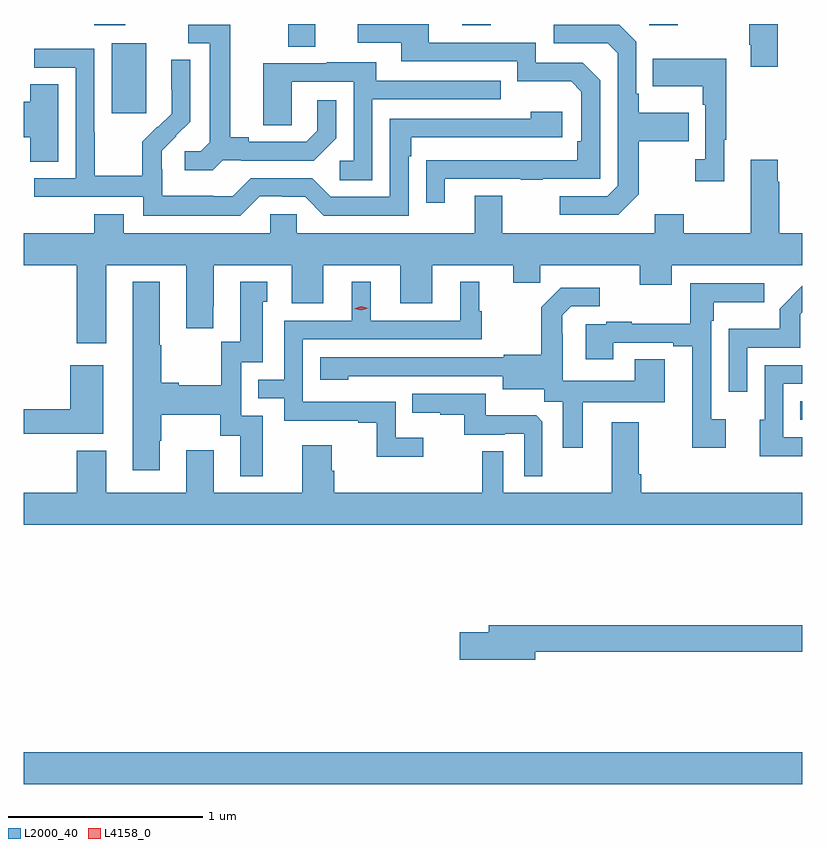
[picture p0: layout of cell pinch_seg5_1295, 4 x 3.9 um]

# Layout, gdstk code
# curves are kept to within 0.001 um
import gdstk
lib = gdstk.Library(unit=1e-6, precision=1e-09)
def R(c, l, rs):  # rectangles x0, y0, x1, y1
    for r in rs: c.add(gdstk.rectangle(r[:2], r[2:], *l))
def P(c, l, *ps):  # polygons
    for p in ps: c.add(gdstk.Polygon(p, *l))
L2000_40 = (2000, 40)
L4158_0 = (4158, 0)

pinch_seg5_1295 = lib.new_cell('pinch_seg5_1295')
R(pinch_seg5_1295, L2000_40, [(352.461,911.372,356.461,911.536), (356.449,913.242,356.461,913.338), (352.913,914.817,353.092,915.178), (353.819,915.16,353.959,915.276), (352.823,915.269,352.983,915.276), (354.713,915.269,354.861,915.276), (355.674,915.269,355.821,915.276)])
P(pinch_seg5_1295, L2000_40, [(356.335,915.276),(356.188,915.276),(356.188,915.169),(356.195,915.169),(356.195,915.057),(356.335,915.057)],
  [(354.625,914.481),(355.015,914.481),(355.015,914.476),(355.127,914.476),(355.127,914.481),(355.422,914.481),(355.422,914.988),(355.332,915.078),(355.092,915.078),(355.092,915.18),(354.541,915.18),(354.541,915.276),(354.177,915.276),(354.177,915.18),(354.401,915.18),(354.401,915.084),(354.996,915.084),(354.996,914.981),(355.273,914.981),(355.326,914.928),(355.326,914.674),(355.306,914.674),(355.306,914.577),(354.529,914.576),(354.529,914.358),(354.625,914.358)],
  [(353.484,914.577),(353.578,914.577),(353.578,914.574),(353.95,914.574),(354.066,914.69),(354.066,914.884),(353.969,914.884),(353.969,914.727),(353.912,914.67),(353.617,914.67),(353.617,914.693),(353.521,914.693),(353.521,915.273),(353.307,915.273),(353.307,915.177),(353.417,915.177),(353.417,914.669),(353.37,914.622),(353.289,914.622),(353.289,914.525),(353.432,914.525)],
  [(355.621,914.401),(355.621,914.674),(355.877,914.674),(355.877,914.821),(355.621,914.821),(355.621,914.917),(355.608,914.917),(355.608,915.186),(355.521,915.273),(355.185,915.273),(355.185,915.177),(355.461,915.177),(355.512,915.126),(355.512,914.445),(355.458,914.391),(355.215,914.391),(355.215,914.295),(355.515,914.295)],
  [(353.673,914.391),(353.789,914.391),(353.789,914.388),(353.907,914.388),(354.003,914.292),(354.438,914.292),(354.438,914.597),(354.451,914.597),(354.451,914.694),(355.228,914.694),(355.228,914.824),(355.067,914.824),(355.067,914.79),(354.342,914.79),(354.342,914.388),(354.039,914.388),(353.943,914.484),(353.628,914.484),(353.535,914.391),(353.435,914.391),(353.435,914.395),(353.172,914.395),(353.172,914.529),(353.17,914.529),(353.17,914.626),(353.316,914.774),(353.316,915.092),(353.22,915.092),(353.22,914.938),(353.222,914.938),(353.222,914.816),(353.151,914.745),(353.148,914.748),(353.071,914.671),(353.071,914.497),(352.827,914.497),(352.827,914.72),(352.824,914.72),(352.824,915.15),(352.515,915.15),(352.515,915.051),(352.728,915.051),(352.728,914.484),(352.515,914.484),(352.515,914.388),(353.076,914.388),(353.076,914.291),(353.573,914.291)],
  [(356.059,914.681),(356.071,914.681),(356.071,915.097),(355.693,915.097),(355.693,914.957),(355.95,914.957),(355.95,914.861),(355.962,914.861),(355.962,914.582),(355.911,914.582),(355.911,914.469),(356.059,914.469)],
  [(354.252,914.889),(354.911,914.889),(354.911,914.985),(354.271,914.985),(354.271,915.079),(354.017,915.079),(354.017,915.075),(353.693,915.075),(353.693,914.755),(353.838,914.755),(353.838,914.979),(354.156,914.979),(354.156,914.574),(354.084,914.574),(354.084,914.473),(354.252,914.473)],
  [(352.639,914.966),(352.496,914.966),(352.496,914.876),(352.461,914.876),(352.461,914.693),(352.496,914.693),(352.496,914.569),(352.639,914.569)],
  [(352.885,914.036),(353.297,914.036),(353.297,913.713),(353.434,913.713),(353.434,913.825),(353.437,913.825),(353.437,914.036),(353.837,914.036),(353.837,913.842),(354.001,913.842),(354.001,914.036),(354.395,914.036),(354.395,913.842),(354.559,913.842),(354.559,914.036),(354.977,914.036),(354.977,913.946),(355.115,913.946),(355.115,914.036),(355.625,914.036),(355.625,913.937),(355.789,913.937),(355.789,914.036),(356.461,914.036),(356.461,914.2),(356.343,914.2),(356.343,914.465),(356.335,914.465),(356.335,914.578),(356.195,914.578),(356.195,914.2),(355.851,914.2),(355.851,914.299),(355.703,914.299),(355.703,914.2),(354.919,914.2),(354.919,914.395),(354.779,914.395),(354.779,914.2),(353.865,914.2),(353.865,914.298),(353.727,914.298),(353.727,914.2),(352.975,914.2),(352.975,914.299),(352.823,914.299),(352.823,914.2),(352.461,914.2),(352.461,914.036),(352.733,914.036),(352.733,913.635),(352.885,913.635)],
  [(353.689,913.263),(353.58,913.263),(353.58,913.539),(353.689,913.539),(353.689,913.848),(353.713,913.848),(353.713,913.951),(353.573,913.951),(353.573,913.644),(353.477,913.644),(353.477,913.42),(353.257,913.42),(353.257,913.433),(353.169,913.433),(353.169,913.625),(353.161,913.625),(353.161,913.951),(353.021,913.951),(353.021,912.984),(353.161,912.984),(353.161,913.134),(353.169,913.134),(353.169,913.268),(353.472,913.268),(353.472,913.162),(353.573,913.162),(353.573,912.954),(353.689,912.954)],
  [(354.514,913.15),(354.372,913.15),(354.372,913.335),(353.895,913.335),(353.895,913.656),(354.814,913.656),(354.814,913.8),(354.802,913.8),(354.802,913.951),(354.704,913.951),(354.704,913.752),(354.244,913.752),(354.244,913.951),(354.146,913.951),(354.146,913.752),(353.799,913.752),(353.799,913.449),(353.665,913.449),(353.665,913.353),(353.799,913.353),(353.799,913.239),(354.179,913.239),(354.179,913.227),(354.274,913.227),(354.274,913.052),(354.514,913.052)],
  [(356.068,913.246),(355.992,913.246),(355.992,913.751),(356.005,913.751),(356.005,913.847),(356.266,913.847),(356.266,913.944),(355.884,913.944),(355.884,913.736),(355.585,913.736),(355.585,913.747),(355.453,913.747),(355.453,913.734),(355.349,913.734),(355.349,913.554),(355.489,913.554),(355.489,913.638),(355.799,913.638),(355.799,913.62),(355.895,913.62),(355.895,913.098),(356.068,913.098)],
  [(356.178,913.614),(356.451,913.614),(356.451,913.785),(356.461,913.795),(356.461,913.931),(356.344,913.814),(356.344,913.711),(356.082,913.711),(356.082,913.386),(356.178,913.386)],
  [(355.333,913.334),(355.753,913.334),(355.753,913.553),(355.601,913.553),(355.601,913.444),(355.23,913.444),(355.23,913.685),(355.228,913.685),(355.228,913.78),(355.275,913.827),(355.42,913.827),(355.42,913.921),(355.219,913.921),(355.119,913.821),(355.119,913.576),(354.927,913.576),(354.927,913.563),(353.985,913.563),(353.985,913.448),(354.129,913.448),(354.129,913.466),(354.923,913.467),(354.923,913.4),(355.134,913.4),(355.134,913.336),(355.229,913.336),(355.229,913.098),(355.333,913.098)],
  [(356.461,913.152),(356.364,913.152),(356.364,913.428),(356.461,913.428),(356.461,913.524),(356.268,913.524),(356.268,913.242),(356.243,913.242),(356.243,913.055),(356.461,913.055)],
  [(352.87,913.522),(352.7,913.522),(352.7,913.298),(352.461,913.298),(352.461,913.17),(352.87,913.17)],
  [(355.125,913.233),(355.093,913.265),(354.835,913.265),(354.835,913.377),(354.457,913.377),(354.457,913.28),(354.601,913.28),(354.601,913.269),(354.725,913.269),(354.725,913.167),(354.932,913.167),(354.932,913.17),(355.032,913.17),(355.032,912.953),(355.125,912.953)],
  [(356.461,912.868),(355.634,912.868),(355.634,912.964),(355.621,912.964),(355.621,913.231),(355.481,913.231),(355.481,912.868),(354.924,912.868),(354.924,913.082),(354.816,913.082),(354.816,912.868),(354.056,912.868),(354.056,912.981),(354.043,912.981),(354.043,913.111),(353.891,913.111),(353.891,912.868),(353.437,912.868),(353.437,913.087),(353.297,913.087),(353.297,912.868),(352.885,912.868),(352.885,913.084),(352.733,913.084),(352.733,912.868),(352.461,912.868),(352.461,912.704),(356.461,912.704)],
  [(355.09,912.052),(356.461,912.052),(356.461,912.188),(354.851,912.188),(354.851,912.152),(354.702,912.152),(354.702,912.01),(355.09,912.01)])
P(pinch_seg5_1295, L4158_0, [(354.195,913.805),(354.159,913.814),(354.159,913.814),(354.159,913.814),(354.195,913.825),(354.231,913.816),(354.231,913.816),(354.231,913.816)])

lib.write_gds('pinch_seg5_1295.gds')
